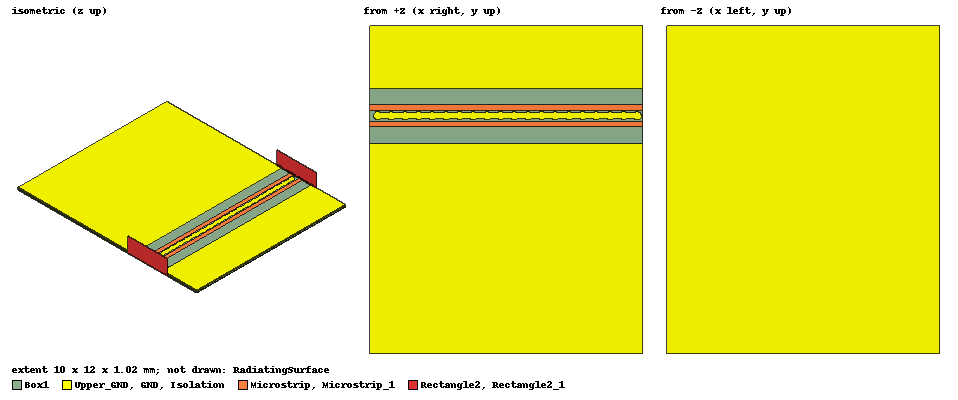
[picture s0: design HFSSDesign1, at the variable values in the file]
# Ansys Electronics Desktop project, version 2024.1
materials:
  vacuum: permittivity=1
  Custom_ADM_Material: permittivity=3.3 dielectric_loss_tangent=0.003 delta_H_freq=10GHz
  copper: permeability=0.999991 conductivity=58000000
  pec: conductivity=1e+30

design HFSSDesign1 (HFSS, HFSS Terminal Network, model units mm)
options: Allow_Material_Override Calculate_Lossy_Dielectrics
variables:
  track_length = 10mm
  sub_thick = 100um
  track_width = 0.211mm
  G_Spacing = 0.7mm
  copper_thick = 20um
  port_width = track_width
  spacing = 0.6mm
  pitch = 0.5mm
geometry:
  Box1 [Custom_ADM_Material] = box(corner=(-track_length/2, 3mm, 0mm), size=(track_length, -12mm, -sub_thick))
  Microstrip [copper] = rectangle(corner=(-track_length/2, -track_width/2, 0mm), x_size=track_length, y_size=track_width)
  Upper_GND [copper] = rectangle(corner=(-track_length/2, 3mm, 0mm), x_size=track_length, y_size=-12mm)
  Microstrip.thicken(20um)
  RadiatingSurface [vacuum] = region(absolute_offset: +X=0mm, -X=0mm, +Y=2mm, -Y=2mm, +Z=2mm, -Z=2mm)
  GND [copper] = object_from(Box1.face(-z))
  GND.thicken(20um)
  Rectangle2 = rectangle(corner=(track_length/2, -5*port_width-spacing, -sub_thick), y_size=10*port_width+spacing, z_size=10*sub_thick)
  Rectangle2_1 = Rectangle2.duplicate_along_line(step=(-track_length, 0mm, 0mm), total=2)
  Box2 = box(corner=(-5mm, G_Spacing, 0mm), size=(10mm, -2*G_Spacing-spacing, 0.02mm))
  Upper_GND.thicken(-20um)
  Microstrip_1 [copper] = Microstrip.duplicate_along_line(step=(0mm, -spacing, 0mm), total=2)
  Upper_GND.subtract(Box2)
  VIA = cylinder(axis=Z, base_centre=(track_length/2 - 0.2mm, -spacing/2, -sub_thick), radius=(0.15/2) mm, height=sub_thick)
  Pad = circle(normal=Z, centre=(4.8mm, -0.3mm, 0mm), radius=0.15mm)
  Pad.thicken(20um)
  VIA.unite(Pad)
  VIA_1..VIA_19 = VIA.duplicate_along_line(step=(-pitch, 0mm, 0mm), total=20)
  VIA.unite(VIA_1..VIA_19)
  Isolation [copper] = rectangle(corner=(4.75mm, -spacing/2 + 0.1mm, 0mm), x_size=-9.5mm, y_size=-0.2mm)
  Isolation.thicken(20um)
  Isolation.unite(VIA)
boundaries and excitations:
  Open1: Radiation Objects=RadiatingSurface
  T1_1: Terminal port=1 Faces=Microstrip.face(at (5, 0, 0.01)) TerminalResistance=50ohm
  T2_1: Terminal port=1 Faces=Microstrip_1.face(at (5, -0.6, 0.01)) TerminalResistance=50ohm
  T1_2: Terminal port=2 Faces=Microstrip.face(at (-5, 0, 0.01)) TerminalResistance=50ohm
  T2_2: Terminal port=2 Faces=Microstrip_1.face(at (-5, -0.6, 0.01)) TerminalResistance=50ohm
  1: Wave Port Faces=Rectangle2.face(at (5, -0.3, 0.4)) WavePortType=Terminal NumModes=1
  2: Wave Port Faces=Rectangle2_1.face WavePortType=Terminal NumModes=1
  reference conductors: GND, Upper_GND
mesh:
  initial mesh: GlobalSurfApproximation{CurvedSurfaceApproxChoice=UseSlider SliderMeshSettings=7}
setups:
  Setup1: HfssDriven MultipleAdaptiveFreqsSetup{Low=0GHz High=50GHz} MaxDeltaS=0.02 MaximumPasses=20 MinimumPasses=1 MinimumConvergedPasses=1 PercentRefinement=30 BasisOrder=1 PortAccuracy=2 DrivenSolverType="Direct Solver"
    sweep Sweep: 0GHz to 50GHz, 401 points; Type=Interpolating InterpTolerance=0.5 InterpMaxSolns=250 MinSolvedFreq=0.01GHz PassivityErrorTolerance=0.0001
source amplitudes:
  1:1, 1:2: 1V 0deg
  2:1, 2:2: 0V 0deg
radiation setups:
  3D: Infinite Sphere Theta=0deg..180deg step 2deg Phi=-180deg..180deg step 2deg
  Elevation: Infinite Sphere Theta=-180deg..180deg step 1deg Phi=0deg..90deg step 90deg
  Azimuth: Infinite Sphere Theta=90deg..90deg step 0deg Phi=-180deg..180deg step 1deg
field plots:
  Mag_E1: E Field on Setup1 : LastAdaptive at Freq=30GHz Phase=0deg
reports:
  Terminal S Parameter Plot 1: dB(St(T1_2,T1_1)) vs Freq on Setup1 : Sweep [spacing=0.6mm,0.9mm,1.2mm,1.8mm,2.4mm,3mm]; markers m1 at 50GHz, m3 at 50GHz, m4 at 10GHz, m5 at 10GHz
  Terminal S Parameter Plot 2: dB(St(T1_1,T1_1)) vs Freq on Setup1 : Sweep [spacing=all]; markers m1 at 34.375GHz
  Terminal S Parameter Plot 3: dB(St(T2_1,T1_1)) vs Freq on Setup1 : Sweep [spacing=0.3mm,0.6mm,0.9mm,1.2mm,1.5mm,1.8mm,2.1mm,2.4mm,2.7mm,3mm]; markers m1 at 50GHz, m2 at 46.75GHz, m3 at 10GHz
  Terminal S Parameter Plot 4: dB(St(T2_2,T1_1)) vs Freq on Setup1 : Sweep [spacing=0.3mm,0.6mm,0.9mm,1.2mm,1.5mm,1.8mm,2.1mm,2.4mm,2.7mm,3mm]; markers m1 at 10GHz, m2 at 10GHz, m3 at 50GHz, m4 at 50GHz
